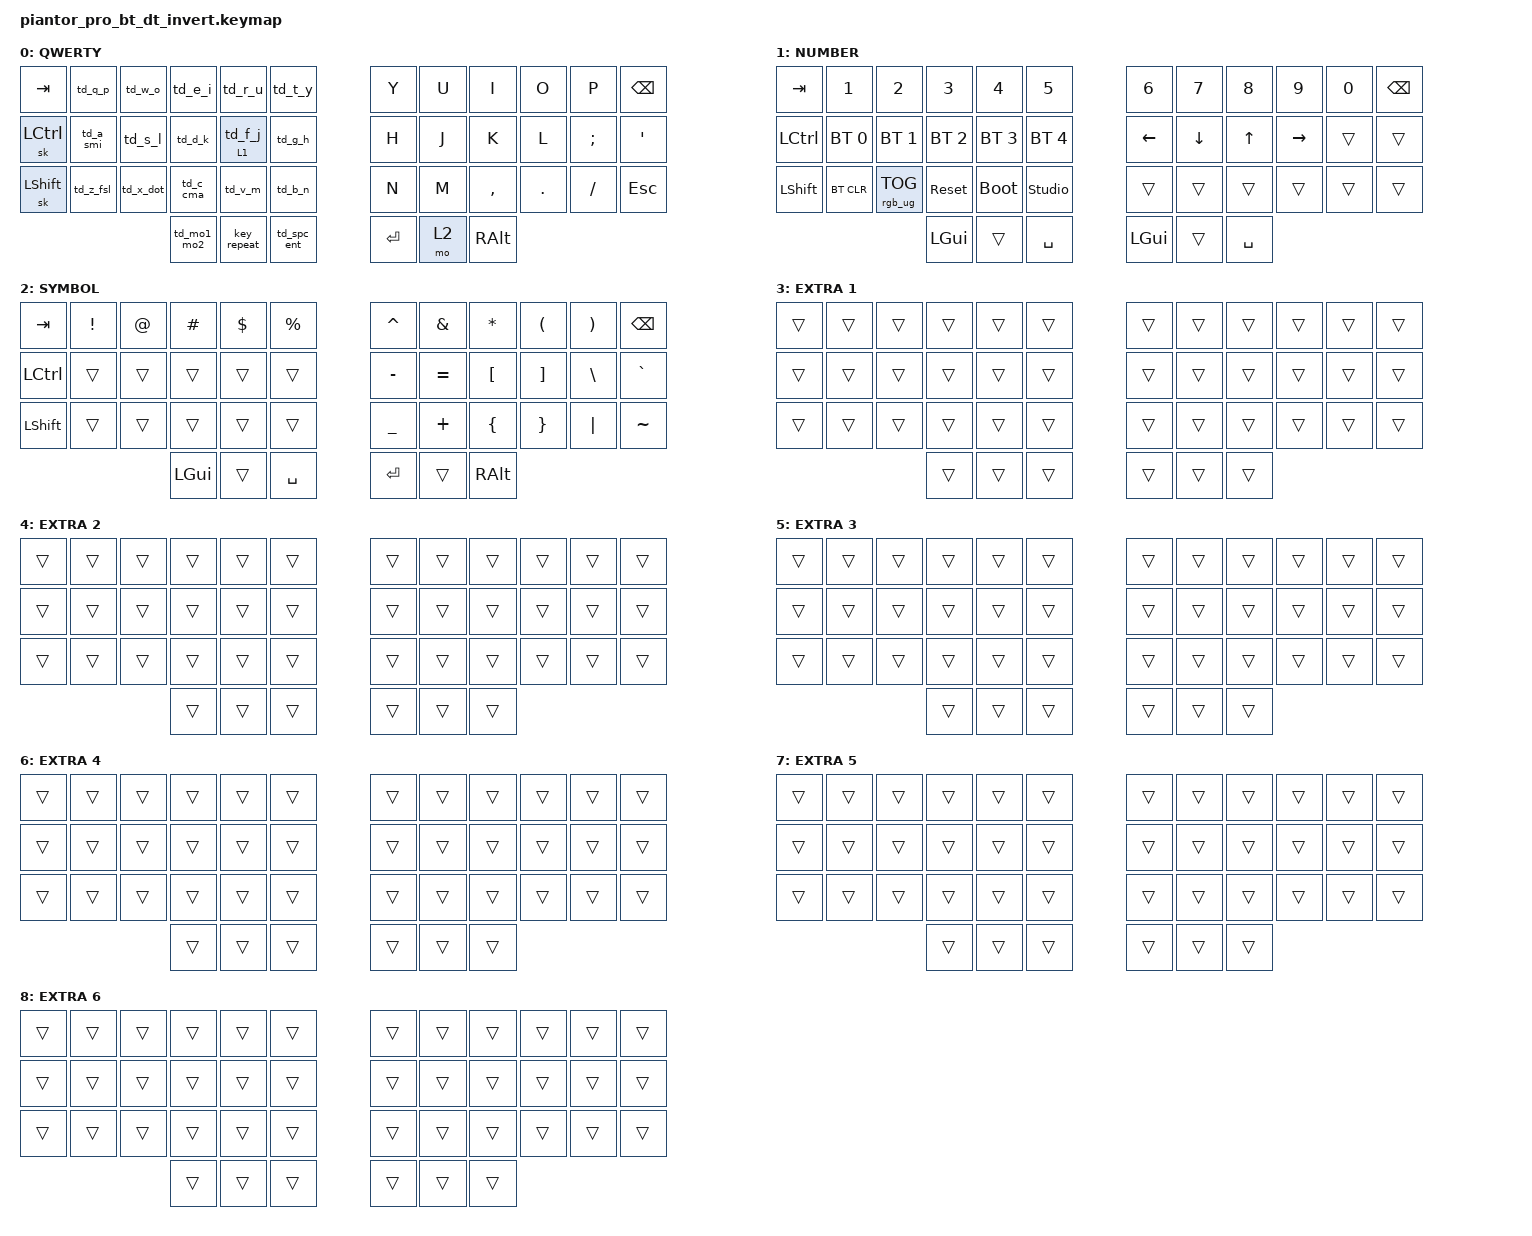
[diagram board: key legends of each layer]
/*
 * Copyright (c) 2020 The ZMK Contributors
 *
 * SPDX-License-Identifier: MIT
 */

#include <behaviors.dtsi>
#include <dt-bindings/zmk/keys.h>
#include <dt-bindings/zmk/bt.h>
#include <dt-bindings/zmk/rgb.h>

/ {
    chosen {
        zmk,physical-layout = &default_layout;
    };
};

/ {
    behaviors {
        td_q_p: tap_dance_q_p {
            compatible = "zmk,behavior-tap-dance";
            #binding-cells = <0>;
            tapping-term-ms = <400>;
            bindings = <&kp Q>, <&kp P>;
        };
        td_w_o: tap_dance_w_o {
            compatible = "zmk,behavior-tap-dance";
            #binding-cells = <0>;
            tapping-term-ms = <400>;
            bindings = <&kp W>, <&kp O>;
        };
        td_e_i: tap_dance_e_i {
            compatible = "zmk,behavior-tap-dance";
            #binding-cells = <0>;
            tapping-term-ms = <400>;
            bindings = <&kp E>, <&kp I>;
        };
        td_r_u: tap_dance_r_u {
            compatible = "zmk,behavior-tap-dance";
            #binding-cells = <0>;
            tapping-term-ms = <400>;
            bindings = <&kp R>, <&kp U>;
        };
        td_t_y: tap_dance_t_y {
            compatible = "zmk,behavior-tap-dance";
            #binding-cells = <0>;
            tapping-term-ms = <400>;
            bindings = <&kp T>, <&kp Y>;
        };
        td_a_smi: tap_dance_a_semi {
            compatible = "zmk,behavior-tap-dance";
            #binding-cells = <0>;
            tapping-term-ms = <400>;
            bindings = <&kp A>, <&kp SEMI>;
        };
        td_s_l: tap_dance_s_l {
            compatible = "zmk,behavior-tap-dance";
            #binding-cells = <0>;
            tapping-term-ms = <400>;
            bindings = <&kp S>, <&kp L>;
        };
        td_d_k: tap_dance_d_k {
            compatible = "zmk,behavior-tap-dance";
            #binding-cells = <0>;
            tapping-term-ms = <400>;
            bindings = <&kp D>, <&kp K>;
        };
        td_f_j: tap_dance_f_j {
            compatible = "zmk,behavior-tap-dance";
            #binding-cells = <0>;
            tapping-term-ms = <400>;
            bindings = <&kp F>, <&kp J>;
        };
        td_g_h: tap_dance_g_h {
            compatible = "zmk,behavior-tap-dance";
            #binding-cells = <0>;
            tapping-term-ms = <400>;
            bindings = <&kp G>, <&kp H>;
        };
        td_z_fsl: tap_dance_z_fslh {
            compatible = "zmk,behavior-tap-dance";
            #binding-cells = <0>;
            tapping-term-ms = <400>;
            bindings = <&kp Z>, <&kp FSLH>;
        };
        td_x_dot: tap_dance_x_dot {
            compatible = "zmk,behavior-tap-dance";
            #binding-cells = <0>;
            tapping-term-ms = <400>;
            bindings = <&kp X>, <&kp DOT>;
        };
        td_c_cma: tap_dance_c_comma {
            compatible = "zmk,behavior-tap-dance";
            #binding-cells = <0>;
            tapping-term-ms = <400>;
            bindings = <&kp C>, <&kp COMMA>;
        };
        td_v_m: tap_dance_v_m {
            compatible = "zmk,behavior-tap-dance";
            #binding-cells = <0>;
            tapping-term-ms = <400>;
            bindings = <&kp V>, <&kp M>;
        };
        td_b_n: tap_dance_b_n {
            compatible = "zmk,behavior-tap-dance";
            #binding-cells = <0>;
            tapping-term-ms = <400>;
            bindings = <&kp B>, <&kp N>;
        };
        td_mo1_mo2: tap_dance_mod_select {
            compatible = "zmk,behavior-tap-dance";
            #binding-cells = <0>;
            tapping-term-ms = <400>;
            bindings = <&mo 1>, <&mo 2>;
        };
        td_spc_ent: tap_dance_space_enter {
            compatible = "zmk,behavior-tap-dance";
            #binding-cells = <0>;
            tapping-term-ms = <400>;
            bindings = <&kp SPACE>, <&kp RET>;
        };
        mt: mod_tap {
            compatible = "zmk,behavior-hold-tap";
            #binding-cells = <2>;
            flavor = "hold-preferred";
            tapping-term-ms = <200>;
            bindings = <&mo>, <&td_f_j>;
            display-name = "Mod-Tap";
        };
    };
    keymap {
        compatible = "zmk,keymap";

        default_layer {
            display-name = "QWERTY";
            // --------------------------------------------------------------------------------
            // |  TAB |  Q  |  W  |  E  |  R  |  T  |  Y  |  U   |  I  |  O  |  P  | BSPC |
            // | CTRL |  A  |  S  |  D  |  F  |  G  |  H  |  J   |  K  |  L  |  ;  |  '   |
            // | SHFT |  Z  |  X  |  C  |  V  |  B  |  N  |  M   |  ,  |  .  |  /  | ESC  |
            //                    | GUI | LWR | SPC | ENT | RSE  | ALT |
            bindings = <
                &kp TAB   &td_q_p   &td_w_o   &td_e_i   &td_r_u &td_t_y &kp Y &kp U  &kp I     &kp O   &kp P    &kp BSPC
                &sk LCTRL &td_a_smi &td_s_l   &td_d_k   &mt 1 0 &td_g_h &kp H &kp J  &kp K     &kp L   &kp SEMI &kp SQT
                &sk LSHFT &td_z_fsl &td_x_dot &td_c_cma &td_v_m &td_b_n &kp N &kp M  &kp COMMA &kp DOT &kp FSLH &kp ESC
                                    &td_mo1_mo2 &key_repeat &td_spc_ent &kp RET &mo 2 &kp RALT
            >;
        };

        lower_layer {
            display-name = "NUMBER";
            // -----------------------------------------------------------------------------------------
            // |  TAB |  1  |  2  |  3  |  4  |  5    |  6  |  7  |  8  |  9  |  0  | BSPC |
            // | CTRL | BT1 | BT2 | BT3 | BT4 | BT5   | LFT | DWN |  UP | RGT |     |      |
            // | SHFT | BTCR| RGB | RST | BOOT| Unlock|     |     |     |     |     |      |
            //                    | GUI |     | SPC   | ENT |     | ALT |
            bindings = <
                &kp TAB   &kp N1       &kp N2          &kp N3       &kp N4       &kp N5         &kp N6   &kp N7   &kp N8 &kp N9    &kp N0 &kp BSPC
                &kp LCTRL &bt BT_SEL 0 &bt BT_SEL 1    &bt BT_SEL 2 &bt BT_SEL 3 &bt BT_SEL 4   &kp LEFT &kp DOWN &kp UP &kp RIGHT &trans &trans
                &kp LSHFT &bt BT_CLR   &rgb_ug RGB_TOG &sys_reset   &bootloader  &studio_unlock &trans   &trans   &trans &trans    &trans &trans
                                                       &kp LGUI     &trans       &kp SPACE      &kp LGUI &trans   &kp SPACE
            >;
        };

        raise_layer {
            display-name = "SYMBOL";
            // -----------------------------------------------------------------------------------------
            // |  TAB |  !  |  @  |  #  |  $  |  %  |  ^  |  &  |  *  |  (  |  )  | BSPC |
            // | CTRL |     |     |     |     |     |  -  |  =  |  [  |  ]  |  \  |  `   |
            // | SHFT |     |     |     |     |     |  _  |  +  |  {  |  }  | "|" |  ~   |
            //                    | GUI |     | SPC | ENT |     | ALT |
            bindings = <
                &kp  TAB  &kp EXCL &kp AT &kp HASH &kp DLLR &kp PRCNT  &kp CARET &kp AMPS &kp ASTRK &kp LPAR &kp RPAR &kp BSPC
                &kp LCTRL &trans   &trans &trans   &trans   &trans     &kp MINUS &kp EQUAL &kp LBKT &kp RBKT &kp BSLH &kp GRAVE
                &kp LSHFT &trans   &trans &trans   &trans   &trans     &kp UNDER &kp PLUS  &kp LBRC &kp RBRC &kp PIPE &kp TILDE
                                          &kp LGUI &trans   &kp SPACE  &kp RET   &trans    &kp RALT
            >;
        };

        extra_layer_1 {
            display-name = "EXTRA 1";
            bindings = <
                &trans &trans &trans &trans &trans &trans  &trans &trans &trans &trans &trans &trans
                &trans &trans &trans &trans &trans &trans  &trans &trans &trans &trans &trans &trans
                &trans &trans &trans &trans &trans &trans  &trans &trans &trans &trans &trans &trans
                                     &trans &trans &trans  &trans &trans &trans       
            >;
        };

        extra_layer_2 {
            display-name = "EXTRA 2";
            bindings = <
                &trans &trans &trans &trans &trans &trans  &trans &trans &trans &trans &trans &trans
                &trans &trans &trans &trans &trans &trans  &trans &trans &trans &trans &trans &trans
                &trans &trans &trans &trans &trans &trans  &trans &trans &trans &trans &trans &trans
                                     &trans &trans &trans  &trans &trans &trans       
            >;
        };

        extra_layer_3 {
            display-name = "EXTRA 3";
            bindings = <
                &trans &trans &trans &trans &trans &trans  &trans &trans &trans &trans &trans &trans
                &trans &trans &trans &trans &trans &trans  &trans &trans &trans &trans &trans &trans
                &trans &trans &trans &trans &trans &trans  &trans &trans &trans &trans &trans &trans
                                     &trans &trans &trans  &trans &trans &trans       
            >;
        };

        extra_layer_4 {
            display-name = "EXTRA 4";
            bindings = <
                &trans &trans &trans &trans &trans &trans  &trans &trans &trans &trans &trans &trans
                &trans &trans &trans &trans &trans &trans  &trans &trans &trans &trans &trans &trans
                &trans &trans &trans &trans &trans &trans  &trans &trans &trans &trans &trans &trans
                                     &trans &trans &trans  &trans &trans &trans       
            >;
        };

        extra_layer_5 {
            display-name = "EXTRA 5";
            bindings = <
                &trans &trans &trans &trans &trans &trans  &trans &trans &trans &trans &trans &trans
                &trans &trans &trans &trans &trans &trans  &trans &trans &trans &trans &trans &trans
                &trans &trans &trans &trans &trans &trans  &trans &trans &trans &trans &trans &trans
                                     &trans &trans &trans  &trans &trans &trans       
            >;
        };

        extra_layer_6 {
            display-name = "EXTRA 6";
            bindings = <
                &trans &trans &trans &trans &trans &trans  &trans &trans &trans &trans &trans &trans
                &trans &trans &trans &trans &trans &trans  &trans &trans &trans &trans &trans &trans
                &trans &trans &trans &trans &trans &trans  &trans &trans &trans &trans &trans &trans
                                     &trans &trans &trans  &trans &trans &trans       
            >;
        };
    };
};
